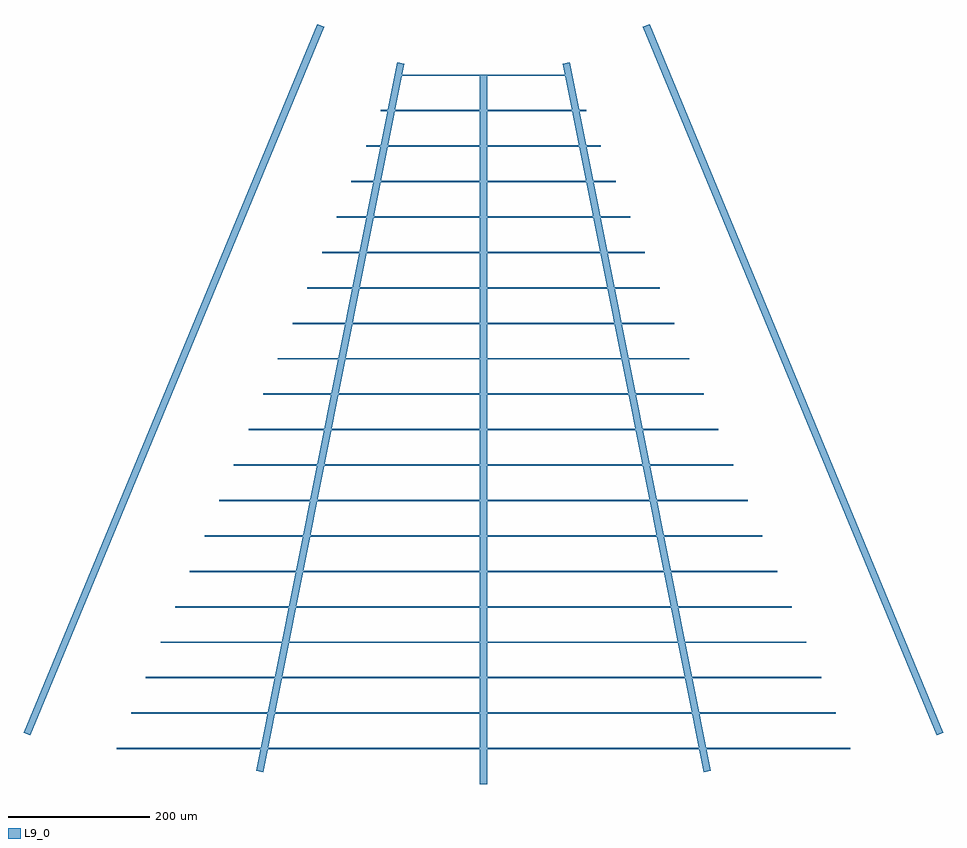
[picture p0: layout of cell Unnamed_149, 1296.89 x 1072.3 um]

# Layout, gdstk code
from math import pi, radians
import gdstk
lib = gdstk.Library(unit=1e-6, precision=1e-09)
def R(c, l, rs):  # rectangles x0, y0, x1, y1
    for r in rs: c.add(gdstk.rectangle(r[:2], r[2:], *l))
L9_0 = (9, 0)

unnamed_174 = lib.new_cell('Unnamed_174')
R(unnamed_174, L9_0, [(0,-5,1082.392,5)])

unnamed_171 = lib.new_cell('Unnamed_171')
R(unnamed_171, L9_0, [(0,-5,1019.591,5)])

unnamed_169 = lib.new_cell('Unnamed_169')
R(unnamed_169, L9_0, [(0,-1,1035.534,1)])

unnamed_159 = lib.new_cell('Unnamed_159')
R(unnamed_159, L9_0, [(0,-1,621.32,1)])

unnamed_150 = lib.new_cell('Unnamed_150')
R(unnamed_150, L9_0, [(0,-1,248.528,1)])

unnamed_160 = lib.new_cell('Unnamed_160')
R(unnamed_160, L9_0, [(0,-1,662.742,1)])

unnamed_168 = lib.new_cell('Unnamed_168')
R(unnamed_168, L9_0, [(0,-1,994.113,1)])

unnamed_158 = lib.new_cell('Unnamed_158')
R(unnamed_158, L9_0, [(0,-1,579.899,1)])

unnamed_167 = lib.new_cell('Unnamed_167')
R(unnamed_167, L9_0, [(0,-1,952.691,1)])

unnamed_157 = lib.new_cell('Unnamed_157')
R(unnamed_157, L9_0, [(0,-1,538.478,1)])

unnamed_166 = lib.new_cell('Unnamed_166')
R(unnamed_166, L9_0, [(0,-1,911.27,1)])

unnamed_156 = lib.new_cell('Unnamed_156')
R(unnamed_156, L9_0, [(0,-1,497.056,1)])

unnamed_170 = lib.new_cell('Unnamed_170')
R(unnamed_170, L9_0, [(0,-5,1082.392,5)])

unnamed_165 = lib.new_cell('Unnamed_165')
R(unnamed_165, L9_0, [(0,-1,869.848,1)])

unnamed_155 = lib.new_cell('Unnamed_155')
R(unnamed_155, L9_0, [(0,-1,455.635,1)])

unnamed_164 = lib.new_cell('Unnamed_164')
R(unnamed_164, L9_0, [(0,-1,828.427,1)])

unnamed_154 = lib.new_cell('Unnamed_154')
R(unnamed_154, L9_0, [(0,-1,414.214,1)])

unnamed_173 = lib.new_cell('Unnamed_173')
R(unnamed_173, L9_0, [(0,-5,1019.591,5)])

unnamed_163 = lib.new_cell('Unnamed_163')
R(unnamed_163, L9_0, [(0,-1,787.006,1)])

unnamed_153 = lib.new_cell('Unnamed_153')
R(unnamed_153, L9_0, [(0,-1,372.792,1)])

unnamed_172 = lib.new_cell('Unnamed_172')
R(unnamed_172, L9_0, [(0,-5,1000,5)])

unnamed_162 = lib.new_cell('Unnamed_162')
R(unnamed_162, L9_0, [(0,-1,745.584,1)])

unnamed_152 = lib.new_cell('Unnamed_152')
R(unnamed_152, L9_0, [(0,-1,331.371,1)])

unnamed_161 = lib.new_cell('Unnamed_161')
R(unnamed_161, L9_0, [(0,-1,704.163,1)])

unnamed_151 = lib.new_cell('Unnamed_151')
R(unnamed_151, L9_0, [(0,-1,289.949,1)])

unnamed_149 = lib.new_cell('Unnamed_149')
unnamed_149.add(gdstk.Reference(unnamed_174, (229.61,-229.61), rotation=radians(292.5)))
unnamed_149.add(gdstk.Reference(unnamed_171, (-117.054,-282.594), rotation=radians(258.75)))
unnamed_149.add(gdstk.Reference(unnamed_169, (-517.767,-1250)))
unnamed_149.add(gdstk.Reference(unnamed_159, (-310.66,-750)))
unnamed_149.add(gdstk.Reference(unnamed_150, (-124.264,-300)))
unnamed_149.add(gdstk.Reference(unnamed_160, (-331.371,-800)))
unnamed_149.add(gdstk.Reference(unnamed_168, (-497.056,-1200)))
unnamed_149.add(gdstk.Reference(unnamed_158, (-289.949,-700)))
unnamed_149.add(gdstk.Reference(unnamed_167, (-476.346,-1150)))
unnamed_149.add(gdstk.Reference(unnamed_157, (-269.239,-650)))
unnamed_149.add(gdstk.Reference(unnamed_166, (-455.635,-1100)))
unnamed_149.add(gdstk.Reference(unnamed_156, (-248.528,-600)))
unnamed_149.add(gdstk.Reference(unnamed_170, (-229.61,-229.61), rotation=radians(247.5)))
unnamed_149.add(gdstk.Reference(unnamed_165, (-434.924,-1050)))
unnamed_149.add(gdstk.Reference(unnamed_155, (-227.817,-550)))
unnamed_149.add(gdstk.Reference(unnamed_164, (-414.214,-1000)))
unnamed_149.add(gdstk.Reference(unnamed_154, (-207.107,-500)))
unnamed_149.add(gdstk.Reference(unnamed_173, (117.054,-282.594), rotation=radians(281.25)))
unnamed_149.add(gdstk.Reference(unnamed_163, (-393.503,-950)))
unnamed_149.add(gdstk.Reference(unnamed_153, (-186.396,-450)))
unnamed_149.add(gdstk.Reference(unnamed_172, (0,-300), rotation=3*pi/2))
unnamed_149.add(gdstk.Reference(unnamed_162, (-372.792,-900)))
unnamed_149.add(gdstk.Reference(unnamed_152, (-165.685,-400)))
unnamed_149.add(gdstk.Reference(unnamed_161, (-352.082,-850)))
unnamed_149.add(gdstk.Reference(unnamed_151, (-144.975,-350)))

lib.write_gds('Unnamed_149.gds')
